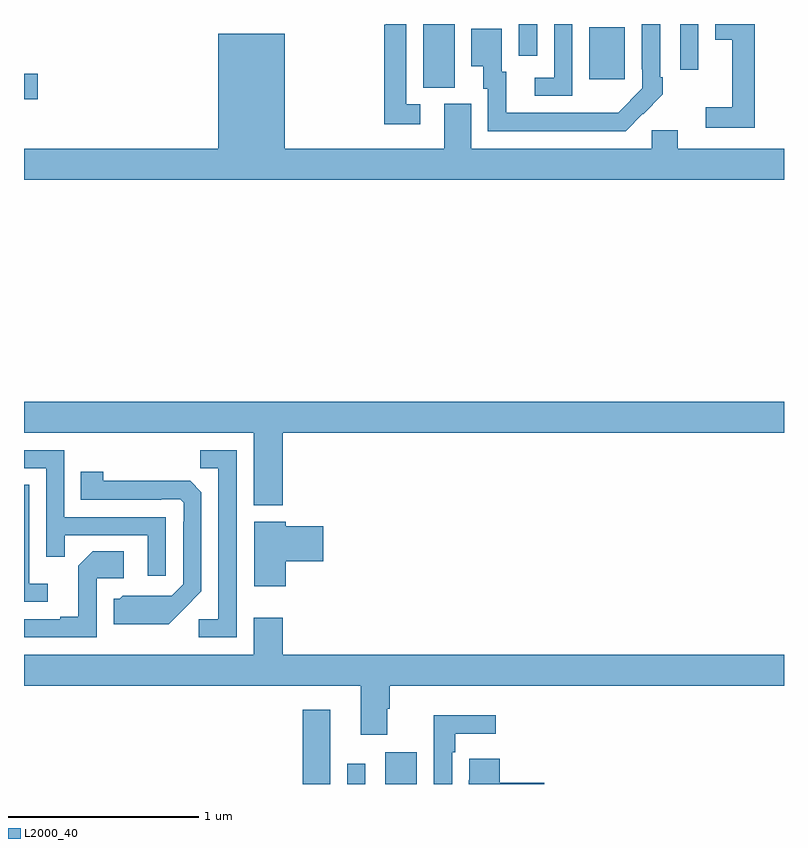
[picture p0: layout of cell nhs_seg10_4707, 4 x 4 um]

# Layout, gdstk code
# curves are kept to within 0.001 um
import gdstk
lib = gdstk.Library(unit=1e-6, precision=1e-09)
def R(c, l, rs):  # rectangles x0, y0, x1, y1
    for r in rs: c.add(gdstk.rectangle(r[:2], r[2:], *l))
def P(c, l, *ps):  # polygons
    for p in ps: c.add(gdstk.Polygon(p, *l))
L2000_40 = (2000, 40)

nhs_seg10_4707 = lib.new_cell('nhs_seg10_4707')
R(nhs_seg10_4707, L2000_40, [(382.466,1266.5,382.612,1266.892), (382.701,1266.5,382.797,1266.607), (382.901,1266.5,383.068,1266.667), (381,1270.103,381.073,1270.238), (383.102,1270.165,383.266,1270.5), (383.975,1270.209,384.163,1270.483), (384.453,1270.26,384.549,1270.5), (383.604,1270.332,383.7,1270.5)])
P(nhs_seg10_4707, L2000_40, [(384.257,1270.027),(384.258,1270.026),(384.363,1270.131),(384.363,1270.219),(384.348,1270.219),(384.348,1270.5),(384.252,1270.5),(384.252,1270.261),(384.255,1270.261),(384.255,1270.161),(384.127,1270.033),(383.539,1270.032),(383.539,1270.248),(383.515,1270.248),(383.515,1270.474),(383.354,1270.474),(383.354,1270.277),(383.417,1270.277),(383.417,1270.158),(383.442,1270.158),(383.442,1269.936),(384.166,1269.936)],
  [(384.845,1270.5),(384.638,1270.5),(384.638,1270.418),(384.728,1270.418),(384.728,1270.063),(384.588,1270.063),(384.588,1269.954),(384.845,1269.954)],
  [(383.086,1270.077),(383.013,1270.077),(383.013,1270.5),(382.905,1270.5),(382.905,1270.496),(382.897,1270.496),(382.897,1269.972),(383.086,1269.972)],
  [(383.886,1270.5),(383.79,1270.5),(383.79,1270.218),(383.688,1270.218),(383.688,1270.122),(383.886,1270.122)],
  [(385,1269.844),(384.442,1269.844),(384.442,1269.942),(384.303,1269.942),(384.303,1269.844),(383.353,1269.844),(383.353,1270.08),(383.213,1270.08),(383.213,1269.844),(382.372,1269.844),(382.372,1270.45),(382.022,1270.45),(382.022,1269.844),(381,1269.844),(381,1269.68),(385,1269.68)],
  [(382.361,1268.348),(385,1268.348),(385,1268.512),(381,1268.512),(381,1268.348),(382.208,1268.348),(382.208,1267.968),(382.361,1267.968)],
  [(382.119,1268.256),(381.928,1268.256),(381.928,1268.161),(382.023,1268.161),(382.023,1267.368),(381.921,1267.368),(381.921,1267.272),(382.119,1267.272)],
  [(381.747,1267.905),(381.213,1267.905),(381.213,1268.256),(381,1268.256),(381,1268.163),(381.117,1268.163),(381.117,1267.696),(381.215,1267.696),(381.215,1267.809),(381.651,1267.809),(381.651,1267.596),(381.747,1267.596)],
  [(381.841,1267.421),(381.933,1267.514),(381.933,1268.036),(381.874,1268.095),(381.417,1268.096),(381.417,1268.143),(381.298,1268.143),(381.298,1267.995),(381.722,1267.995),(381.722,1267.998),(381.822,1267.998),(381.84,1267.98),(381.84,1267.88),(381.837,1267.88),(381.837,1267.551),(381.777,1267.491),(381.52,1267.492),(381.504,1267.476),(381.473,1267.476),(381.473,1267.34),(381.761,1267.34)],
  [(381.124,1267.555),(381.027,1267.555),(381.027,1268.075),(381,1268.075),(381,1267.458),(381.124,1267.458)],
  [(382.378,1267.673),(382.576,1267.673),(382.576,1267.856),(382.378,1267.856),(382.378,1267.879),(382.211,1267.879),(382.211,1267.542),(382.378,1267.542)],
  [(381.384,1267.584),(381.526,1267.584),(381.526,1267.724),(381.361,1267.724),(381.285,1267.648),(381.285,1267.381),(381.191,1267.381),(381.191,1267.368),(381,1267.368),(381,1267.272),(381.384,1267.272)],
  [(382.912,1266.896),(382.925,1266.896),(382.925,1267.016),(385,1267.016),(385,1267.18),(382.361,1267.18),(382.361,1267.375),(382.208,1267.375),(382.208,1267.18),(381,1267.18),(381,1267.016),(382.772,1267.016),(382.772,1266.759),(382.912,1266.759)],
  [(383.253,1266.668),(383.269,1266.668),(383.269,1266.764),(383.482,1266.764),(383.482,1266.862),(383.157,1266.862),(383.157,1266.5),(383.253,1266.5)],
  [(383.737,1266.506),(383.504,1266.506),(383.504,1266.634),(383.343,1266.634),(383.343,1266.521),(383.342,1266.521),(383.342,1266.5),(383.737,1266.5)])

lib.write_gds('nhs_seg10_4707.gds')
